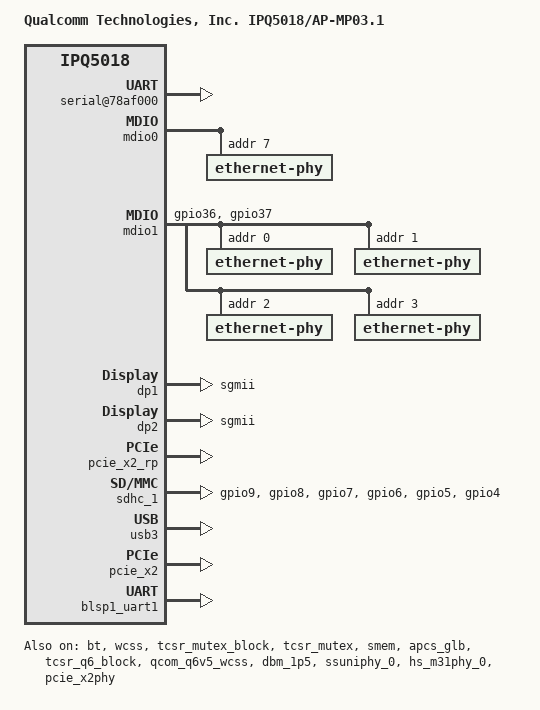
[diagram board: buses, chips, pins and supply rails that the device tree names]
/dts-v1/;
/* Copyright (c) 2018-2020, The Linux Foundation. All rights reserved.
 *
 * Permission to use, copy, modify, and/or distribute this software for any
 * purpose with or without fee is hereby granted, provided that the above
 * copyright notice and this permission notice appear in all copies.
 *
 * THE SOFTWARE IS PROVIDED "AS IS" AND THE AUTHOR DISCLAIMS ALL WARRANTIES
 * WITH REGARD TO THIS SOFTWARE INCLUDING ALL IMPLIED WARRANTIES OF
 * MERCHANTABILITY AND FITNESS. IN NO EVENT SHALL THE AUTHOR BE LIABLE FOR
 * ANY SPECIAL, DIRECT, INDIRECT, OR CONSEQUENTIAL DAMAGES OR ANY DAMAGES
 * WHATSOEVER RESULTING FROM LOSS OF USE, DATA OR PROFITS, WHETHER IN AN
 * ACTION OF CONTRACT, NEGLIGENCE OR OTHER TORTIOUS ACTION, ARISING OUT OF
 * OR IN CONNECTION WITH THE USE OR PERFORMANCE OF THIS SOFTWARE.
 */

#include "qcom-ipq5018.dtsi"

/ {
	#address-cells = <0x2>;
	#size-cells = <0x2>;
	model = "Qualcomm Technologies, Inc. IPQ5018/AP-MP03.1";
	compatible = "qcom,ipq5018-mp03.1", "qcom,ipq5018";
	interrupt-parent = <&intc>;

	aliases {
		sdhc1 = &sdhc_1; /* SDC1 eMMC slot */
	};

	chosen {
		linux,initrd-end = <0x46000000>;
		linux,initrd-start = <0x44000000>;
		bootargs = "console=ttyMSM0,115200,n8 root=/dev/ram0 rw init=/init clk_ignore_unused";
	};

	soc {
		serial@78af000 {
			status = "ok";
		};

		qpic_bam: dma@7984000{
			status = "disabled";
		};

		nand: qpic-nand@79b0000 {
			/* pinctrl-0 = <&qspi_nand_pins>;
			pinctrl-names = "default"; */
			status = "disabled";
			qcom,qpic_stand_alone_kernel;
		};

		spi_0: spi@78b5000 { /* BLSP1 QUP0 */
			/* pinctrl-0 = <&blsp0_spi_pins>;
			pinctrl-names = "default"; */
			cs-select = <0>;
			status = "disabled";

			m25p80@0 {
				#address-cells = <1>;
				#size-cells = <1>;
				reg = <0>;
				compatible = "n25q128a11";
				linux,modalias = "m25p80", "n25q128a11";
				spi-max-frequency = <50000000>;
				use-default-sizes;
			};
		};

		mdio0: mdio@88000 {
			status = "ok";

			ethernet-phy@0 {
				reg = <7>;
			};
		};

		mdio1: mdio@90000 {
			status = "ok";
			pinctrl-0 = <&mdio1_pins>;
			pinctrl-names = "default";
			phy-reset-gpio = <&tlmm 39 0>;
			ethernet-phy@0 {
				reg = <0>;
			};

			ethernet-phy@1 {
				reg = <1>;
			};

			ethernet-phy@2 {
				reg = <2>;
			};

			ethernet-phy@3 {
				reg = <3>;
			};
		};

		ess-instance {
			num_devices = <0x2>;
			ess-switch@0x39c00000 {
				compatible = "qcom,ess-switch-ipq50xx";
				device_id = <0>;
				switch_mac_mode = <0xf>; /* mac mode for uniphy instance*/
				qcom,port_phyinfo {
					port@0 {
						port_id = <1>;
						phy_address = <7>;
					};
					port@1 {
						port_id = <2>;
						forced-speed = <1000>;
						forced-duplex = <1>;
					};
				};
			};
			ess-switch1@1 {
				compatible = "qcom,ess-switch-qca83xx";
				device_id = <1>;
				switch_access_mode = "mdio";
				mdio-bus = <&mdio1>;
				switch_cpu_bmp = <0x40>;  /* cpu port bitmap */
				switch_lan_bmp = <0x1e>; /* lan port bitmap */
				switch_wan_bmp = <0x0>;  /* wan port bitmap */
				qca,ar8327-initvals = <
						0x00004 0x7600000   /* PAD0_MODE */
						0x00008 0x1000000   /* PAD5_MODE */
						0x0000c 0x80        /* PAD6_MODE */
						0x00010 0x2613a0    /* PORT6 FORCE MODE*/
						0x000e4 0xaa545     /* MAC_POWER_SEL */
						0x000e0 0xc74164de  /* SGMII_CTRL */
						0x0007c 0x4e        /* PORT0_STATUS */
						0x00094 0x4e        /* PORT6_STATUS */
				>;
				qcom,port_phyinfo {
					port@0 {
						port_id = <1>;
						phy_address = <0>;
					};
					port@1 {
						port_id = <2>;
						phy_address = <1>;
					};
					port@2 {
						port_id = <3>;
						phy_address = <2>;
					};
					port@3 {
						port_id = <4>;
						phy_address = <3>;
					};
				};
			};
		};

		wifi0: wifi@c000000 {
			status = "disabled";
		};

		dp1 {
			device_type = "network";
			compatible = "qcom,nss-dp";
			qcom,id = <1>;
			reg = <0x39C00000 0x10000>;
			interrupts = <GIC_SPI 101 IRQ_TYPE_LEVEL_HIGH>;
			qcom,mactype = <2>;
			qcom,link-poll = <1>;
			qcom,phy-mdio-addr = <7>;
			mdio-bus = <&mdio0>;
			local-mac-address = [000000000000];
			phy-mode = "sgmii";
		};

		dp2 {
			device_type = "network";
			compatible = "qcom,nss-dp";
			qcom,id = <2>;
			reg = <0x39D00000 0x10000>;
			interrupts = <GIC_SPI 109 IRQ_TYPE_LEVEL_HIGH>;
			qcom,mactype = <2>;
			local-mac-address = [000000000000];
			phy-mode = "sgmii";
		};

		ess-uniphy@98000 {
			status = "disabled";
		};

		qcom,sps {
			status = "disabled";
		};

		qcom,usbbam@8B04000 {
			status = "disabled";
		};

		qcom,diag@0 {
			status = "ok";
		};

		pcie_x1_rp {
		        status = "disabled";

			mhi_0: qcom,mhi@0 {
				reg = <0 0 0 0 0 >;
				qrtr_instance_id = <0x8001>;
			};
		};

		pcie_x2_rp {
			status = "ok";

			mhi_1: qcom,mhi@1 {
				reg = <0 0 0 0 0 >;
				qrtr_instance_id = <0x8002>;
			};
		};

		rpm_etm0 {
			status = "disabled";
		};

		qca,scm_restart_reason {
			status = "disabled";
		};
	};

	psci {
		status = "disabled";
	};

	cpus {
		CPU0: cpu@0 {
			enable-method = "qcom,arm-cortex-acc";
			/delete-property/ clocks;
			/delete-property/ clock-names;
			/delete-property/ operating-points;
			/delete-property/ clock-latency;
		};

		CPU1: cpu@1 {
			enable-method = "qcom,arm-cortex-acc";
			/delete-property/ clocks;
			/delete-property/ clock-names;
			/delete-property/ operating-points;
			/delete-property/ clock-latency;
		};
	};

	firmware {
		scm {
			status = "disabled";
		};
	};
};

&sdhc_1 {
	pinctrl-0 = <&emmc_pins>;
	pinctrl-names = "default";
	qcom,clk-rates = <400000 25000000 50000000 100000000 \
			 192000000 384000000>;
	qcom,bus-speed-mode = "HS200_1p8v", "DDR_1p8v";
	qcom,nonremovable;
	status = "ok";
};

&tlmm {
	pinctrl-0 = <&blsp0_uart_pins &blsp1_uart_pins>;
	pinctrl-names = "default";

	blsp0_uart_pins: blsp0_uart_pins {
		uart_rx_tx {
			pins = "gpio20", "gpio21";
			function = "blsp0_uart0";
			bias-disable;
		};
	};

	blsp1_uart_pins: blsp1_uart_pins {
		uart_rx_tx {
			pins = "gpio23", "gpio25", "gpio24", "gpio26";
			function = "blsp1_uart2";
			bias-disable;
		};
	};

	emmc_pins: emmc_pins {
		emmc_clk {
				pins = "gpio9";
				function = "sdc1_clk";
				drive-strength = <8>;
				bias-pull-down;
			};
		emmc_cmd {
				pins = "gpio8";
				function = "sdc1_cmd";
				drive-strength = <8>;
				bias-pull-up;
			};
		emmc_data_0 {
				pins = "gpio7";
				function = "sdc10";
				drive-strength = <8>;
				bias-pull-down;
			};
		emmc_data_1 {
				pins = "gpio6";
				function = "sdc11";
				drive-strength = <8>;
				bias-pull-down;
			};
		emmc_data_2 {
				pins = "gpio5";
				function = "sdc12";
				drive-strength = <8>;
				bias-pull-down;
			};
		emmc_data_3 {
				pins = "gpio4";
				function = "sdc13";
				drive-strength = <8>;
				bias-pull-down;
			};
	};

	blsp0_spi_pins: blsp0_spi_pins {
		mux {
			pins = "gpio10", "gpio11", "gpio12", "gpio13";
			function = "blsp0_spi";
			drive-strength = <8>;
			bias-disable;
		};
	};

	qspi_nand_pins: qspi_nand_pins {
		qspi_cs {
				pins = "gpio8";
				function = "qspi_cs";
				drive-strength = <8>;
				bias-disable;
			};
		qspi_data_0 {
				pins = "gpio7";
				function = "qspi0";
				drive-strength = <8>;
				bias-disable;
			};
		qspi_data_1 {
				pins = "gpio6";
				function = "qspi1";
				drive-strength = <8>;
				bias-disable;
			};
		qspi_data_2 {
				pins = "gpio5";
				function = "qspi2";
				drive-strength = <8>;
				bias-disable;
			};
		qspi_data_3 {
				pins = "gpio4";
				function = "qspi3";
				drive-strength = <8>;
				bias-disable;
			};
	};

	mdio1_pins: mdio_pinmux {
		mux_0 {
			pins = "gpio36";
			function = "mdc";
			drive-strength = <8>;
			bias-pull-up;
		};

		mux_1 {
			pins = "gpio37";
			function = "mdio";
			drive-strength = <8>;
			bias-pull-up;
		};
	};
};

&usb3 {
	status = "ok";
};

&eud {
	status = "disabled";
};

&pcie_x1 {
	status = "disabled";
	perst-gpio = <&tlmm 18 1>;
};

&pcie_x2 {
	status = "ok";
	perst-gpio = <&tlmm 15 1>;
};

&qcom_rng {
	status = "disabled";
};

&bt {
	status = "ok";
};

&tzlog {
	status = "disabled";
};

&wcss {
	status = "ok";
};

&q6v5_wcss {
	status = "disabled";
};

&q6v5_m3 {
	status = "disabled";
};

&tcsr_mutex_block {
	status = "ok";
};

&tcsr_mutex {
	status = "ok";
};

&smem {
	status = "ok";
};

&apcs_glb {
	status = "ok";
};

&tcsr_q6_block {
	status = "ok";
};

&qcom_q6v5_wcss {
	qcom,nosecure;
	status = "ok";
};

&wifi0 {
	status = "disabled";
};

&i2c_0 {
	status = "disabled";
};

&dbm_1p5 {
	status = "ok";
};

&tmc_etr {
	memory_region = <>;
	status = "disabled";
};

&replicator {
	status = "disabled";
};

&tmc_etf {
	status = "disabled";
};

&funnel_in0 {
	status = "disabled";
};

&funnel_center {
	status = "disabled";
};

&funnel_right {
	status = "disabled";
};

&funnel_mm {
	status = "disabled";
};

&funnel_apss0 {
	status = "disabled";
};

&etm0 {
	status = "disabled";
};

&etm1 {
	status = "disabled";
};

&stm {
	status = "disabled";
};

&cti0 {
	status = "disabled";
};

&cti1 {
	status = "disabled";
};

&cti2 {
	status = "disabled";
};

&cti3 {
	status = "disabled";
};

&cti4 {
	status = "disabled";
};

&cti5 {
	status = "disabled";
};

&cti6 {
	status = "disabled";
};

&cti7 {
	status = "disabled";
};

&cti8 {
	status = "disabled";
};

&cti9 {
	status = "disabled";
};

&cti10 {
	status = "disabled";
};

&cti11 {
	status = "disabled";
};

&cti12 {
	status = "disabled";
};

&cti13 {
	status = "disabled";
};

&cti14 {
	status = "disabled";
};

&cti15 {
	status = "disabled";
};

&cti_cpu0{
	status = "disabled";
};

&cti_cpu1{
	status = "disabled";
};

&cti_rpm_cpu0 {
	status = "disabled";
};

&csr {
	status = "disabled";
};

&dbgui {
	status = "disabled";
};

&tpda {
	status = "disabled";
};

&tpdm_dcc {
	status = "disabled";
};

&hwevent {
	status = "disabled";
};

&msm_imem {
	status = "disabled";
};

&blsp1_uart1 {
	status = "ok";
};

&pmuv8 {
	status = "disabled";
};

&ssuniphy_0 {
	status = "ok";
};

&hs_m31phy_0 {
	status = "ok";
};

&pcie_x1phy {
	status = "disabled";
};

&pcie_x2phy {
	status = "ok";
};

&watchdog {
	status = "disabled";
};

&apss_clk {
	status = "disabled";
};

&dwc_0 {
	dr_mode = "peripheral";
};
